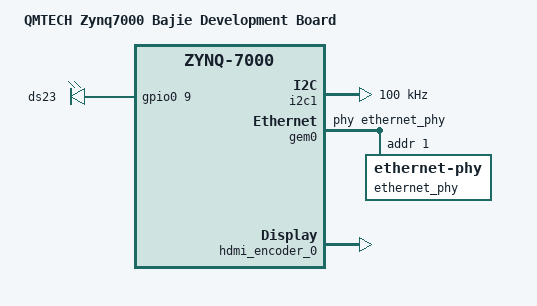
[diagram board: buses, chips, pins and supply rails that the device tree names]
/include/ "system-conf.dtsi"
/ {

	model = "QMTECH Zynq7000 Bajie Development Board";
	compatible = "QMTECH,zynq", "xlnx,zynq-7000";
	aliases {
		ethernet0 = "&gem0";
		serial0 = "&uart1";
	};

	leds {
		compatible = "gpio-leds";

		ds23 {
			label = "ds23";
			gpios = <&gpio0 9 0>;
			linux,default-trigger = "heartbeat";
		};
	};
};

&gpio0 {
	pinctrl-names = "default";
	pinctrl-0 = <&pinctrl_gpio0_default>;
};

&i2c1 {
	clock-frequency = <100000>;
};
 
&sdhci0 {
	u-boot,dm-pre-reloc;
};
 
&uart1 {
	u-boot,dm-pre-reloc;
};
 
&gem0 {
	phy-handle = <&ethernet_phy>;
	ethernet_phy: ethernet-phy@1 {
		reg = <1>;
		device_type = "ethernet-phy";
	};
};

&pinctrl0 {
	pinctrl_gpio0_default: gpio0-default {
		mux {
			function = "gpio0";
			groups = "gpio0_9_grp", "gpio0_10_grp", "gpio0_11_grp";
		};

		conf {
			groups = "gpio0_9_grp", "gpio0_10_grp", "gpio0_11_grp";
			slew-rate = <0>;
			io-standard = <1>;
		};

		conf-pull-up {
			pins = "MIO9", "MIO10", "MIO11";
			bias-pull-up;
		};
	};
};
 
&amba_pl {
 
	hdmi_encoder_0:hdmi_encoder {
		compatible = "digilent,drm-encoder";
		digilent,edid-i2c = <&i2c1>;
	};
 
	xilinx_drm {
		compatible = "xlnx,drm";
		xlnx,vtc = <&v_tc_0>;
		xlnx,connector-type = "HDMIA";
		xlnx,encoder-slave = <&hdmi_encoder_0>;
		clocks = <&axi_dynclk_0>;
		dglnt,edid-i2c = <&i2c1>;
		planes {
			xlnx,pixel-format = "rgb888";
			plane0 {
				dmas = <&axi_vdma_0 0>;
				dma-names = "dma";
			};
		};
	};
};

&axi_dynclk_0 {
	compatible = "digilent,axi-dynclk";
	#clock-cells = <0>;
	clocks = <&clkc 15>;
};

&v_tc_0 {
	compatible = "xlnx,v-tc-5.01.a";
};

